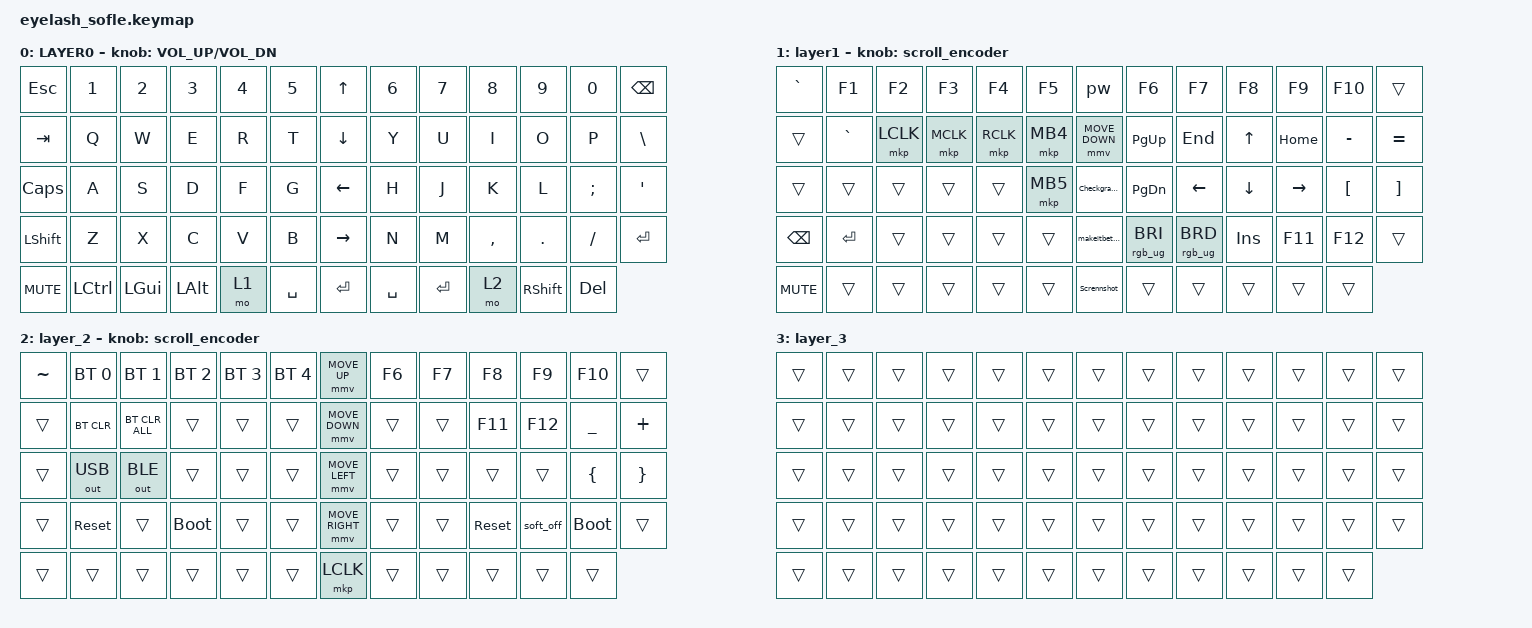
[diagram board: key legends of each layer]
#define ZMK_POINTING_DEFAULT_MOVE_VAL 1200  // 600
#define ZMK_POINTING_DEFAULT_SCRL_VAL 35    // 10

#include <input/processors.dtsi>
#include <zephyr/dt-bindings/input/input-event-codes.h>
#include <behaviors.dtsi>
#include <dt-bindings/zmk/bt.h>
#include <dt-bindings/zmk/keys.h>
#include <dt-bindings/zmk/outputs.h>
#include <dt-bindings/zmk/pointing.h>
#include <dt-bindings/zmk/rgb.h>

/ {
    zip_scroll_scaler: zip_scroll_scaler {
        compatible = "zmk,input-processor-scaler";
        #input-processor-cells = <2>;
        type = <INPUT_EV_REL>;
        codes = <INPUT_REL_WHEEL INPUT_REL_HWHEEL>;
        track-remainders;
    };
};

&mmv_input_listener { input-processors = <&zip_xy_scaler 2 1>; };

&msc_input_listener { input-processors = <&zip_scroll_scaler 2 1>; };

&msc {
    acceleration-exponent = <0>;      // 0
    time-to-max-speed-ms = <0>;       // 300
    delay-ms = <0>;                   // 0
};

&mmv {
    time-to-max-speed-ms = <400>;
    acceleration-exponent = <1>;
};

/ {
    scroll_encoder: scroll_encoder {
        compatible = "zmk,behavior-sensor-rotate";
        #sensor-binding-cells = <0>;
        bindings = <&msc SCRL_DOWN>, <&msc SCRL_UP>;

        tap-ms = <30>;
    };

    macros {
        pw: pw {
            compatible = "zmk,behavior-macro";
            #binding-cells = <0>;
            bindings = <&kp NUMBER_9 &kp NUMBER_8 &kp NUMBER_0 &kp NUMBER_5 &kp NUMBER_0 &kp NUMBER_9 &kp NUMBER_3 &kp NUMBER_3 &kp NUMBER_1 &kp NUMBER_2 &kp NUMBER_9 &kp NUMBER_2 &kp NUMBER_1 &kp NUMBER_0>;
            label = "PW";
        };

        Scrennshot: Scrennshot {
            compatible = "zmk,behavior-macro";
            #binding-cells = <0>;
            bindings = <&kp LG(LS(S))>;
            label = "SCRENNSHOT";
        };

        Checkgrammar: Checkgrammar {
            compatible = "zmk,behavior-macro";
            #binding-cells = <0>;
            bindings = <&kp ENTER &kp LEFT_PARENTHESIS &kp C &kp H &kp E &kp C &kp K &kp SPACE &kp G &kp R &kp A &kp M &kp M &kp A &kp R &kp SPACE &kp N &kp O &kp SPACE &kp F &kp O &kp R &kp M &kp A &kp T>;
            label = "CHECKGRAMMAR";
        };

        makeitbetter: makeitbetter {
            compatible = "zmk,behavior-macro";
            #binding-cells = <0>;
            bindings = <&kp SPACE &kp LPAR &kp SPACE &kp M &kp A &kp K &kp E &kp SPACE &kp I &kp T &kp SPACE &kp B &kp E &kp T &kp T &kp E &kp R &kp SPACE &kp N &kp O &kp SPACE &kp F &kp O &kp R &kp M &kp A &kp T>;
            label = "MAKEITBETTER";
        };
    };

    behaviors {
    };

    keymap {
        compatible = "zmk,keymap";

        layer0 {
            bindings = <
&kp ESC     &kp N1     &kp N2        &kp N3        &kp N4  &kp N5       &kp UP_ARROW     &kp N6     &kp N7     &kp N8     &kp N9           &kp N0      &kp BACKSPACE
&kp TAB     &kp Q      &kp W         &kp E         &kp R   &kp T        &kp DOWN_ARROW   &kp Y      &kp U      &kp I      &kp O            &kp P       &kp BSLH
&kp CAPS    &kp A      &kp S         &kp D         &kp F   &kp G        &kp LEFT_ARROW   &kp H      &kp J      &kp K      &kp L            &kp SEMI    &kp APOS
&kp LSHFT   &kp Z      &kp X         &kp C         &kp V   &kp B        &kp RIGHT_ARROW  &kp N      &kp M      &kp COMMA  &kp DOT          &kp FSLH    &kp ENTER
&kp C_MUTE  &kp LCTRL  &kp LEFT_GUI  &kp LEFT_ALT  &mo 1   &kp SPACE    &kp ENTER        &kp SPACE  &kp ENTER  &mo 2      &kp RIGHT_SHIFT  &kp DELETE
            >;

            sensor-bindings = <&inc_dec_kp C_VOLUME_UP C_VOL_DN>;
            display-name = "LAYER0";
        };

        layer_1 {
            bindings = <
&kp GRAVE      &kp F1     &kp F2     &kp F3     &kp F4     &kp F5      &pw             &kp F6           &kp F7           &kp F8      &kp F9     &kp F10           &trans
&trans         &kp GRAVE  &mkp LCLK  &mkp MCLK  &mkp RCLK  &mkp MB4    &mmv MOVE_DOWN  &kp PG_UP        &kp END          &kp UP      &kp HOME   &kp MINUS         &kp EQUAL
&trans         &trans     &trans     &trans     &trans     &mkp MB5    &Checkgrammar   &kp PG_DN        &kp LEFT         &kp DOWN    &kp RIGHT  &kp LEFT_BRACKET  &kp RIGHT_BRACKET
&kp BACKSPACE  &kp ENTER  &trans     &trans     &trans     &trans      &makeitbetter   &rgb_ug RGB_BRI  &rgb_ug RGB_BRD  &kp INSERT  &kp F11    &kp F12           &trans
&kp C_MUTE     &trans     &trans     &trans     &trans     &trans      &Scrennshot     &trans           &trans           &trans      &trans     &trans
            >;

            display-name = "layer1";
            sensor-bindings = <&scroll_encoder>;
        };

        layer_2 {
            bindings = <
&kp TILDE  &bt BT_SEL 0  &bt BT_SEL 1    &bt BT_SEL 2  &bt BT_SEL 3  &bt BT_SEL 4    &mmv MOVE_UP     &kp F6  &kp F7  &kp F8      &kp F9     &kp F10      &trans
&trans     &bt BT_CLR    &bt BT_CLR_ALL  &trans        &trans        &trans          &mmv MOVE_DOWN   &trans  &trans  &kp F11     &kp F12    &kp UNDER    &kp PLUS
&trans     &out OUT_USB  &out OUT_BLE    &trans        &trans        &trans          &mmv MOVE_LEFT   &trans  &trans  &trans      &trans     &kp LBRC     &kp RBRC
&trans     &sys_reset    &trans          &bootloader   &trans        &trans          &mmv MOVE_RIGHT  &trans  &trans  &sys_reset  &soft_off  &bootloader  &trans
&trans     &trans        &trans          &trans        &trans        &trans          &mkp LCLK        &trans  &trans  &trans      &trans     &trans
            >;

            sensor-bindings = <&scroll_encoder>;
        };

        layer_3 {
            bindings = <
&trans  &trans  &trans  &trans  &trans  &trans    &trans  &trans  &trans  &trans  &trans  &trans  &trans
&trans  &trans  &trans  &trans  &trans  &trans    &trans  &trans  &trans  &trans  &trans  &trans  &trans
&trans  &trans  &trans  &trans  &trans  &trans    &trans  &trans  &trans  &trans  &trans  &trans  &trans
&trans  &trans  &trans  &trans  &trans  &trans    &trans  &trans  &trans  &trans  &trans  &trans  &trans
&trans  &trans  &trans  &trans  &trans  &trans    &trans  &trans  &trans  &trans  &trans  &trans
            >;
        };
    };
};
